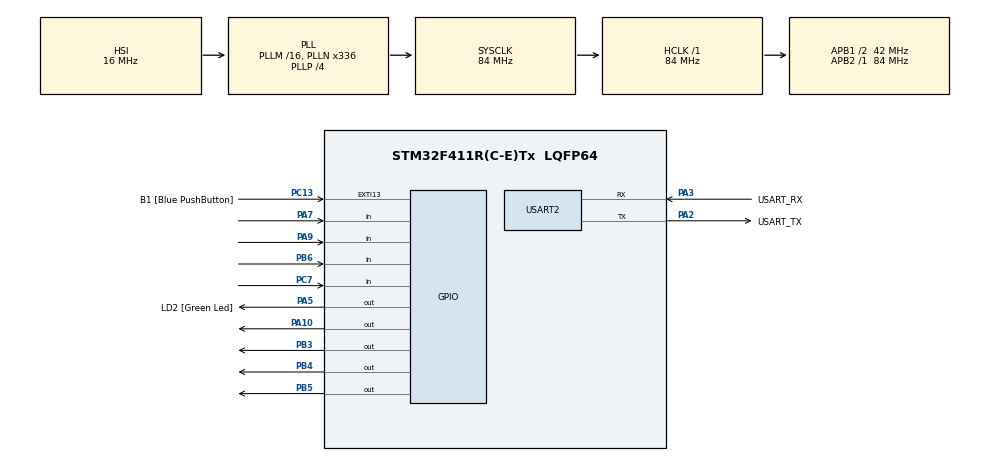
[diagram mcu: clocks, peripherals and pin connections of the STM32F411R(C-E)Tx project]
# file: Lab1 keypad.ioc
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Mcu.Family=STM32F4
Mcu.Name=STM32F411R(C-E)Tx
Mcu.Package=LQFP64
NVIC.PriorityGroup=NVIC_PRIORITYGROUP_0
PA10.GPIO_ModeDefaultOutputPP=GPIO_MODE_OUTPUT_OD
PA10.GPIO_PuPd=GPIO_NOPULL
PA10.Signal=GPIO_Output
PA13.GPIO_Label=TMS
PA13.Mode=Serial_Wire
PA13.Signal=SYS_JTMS-SWDIO
PA14.GPIO_Label=TCK
PA14.Mode=Serial_Wire
PA14.Signal=SYS_JTCK-SWCLK
PA2.GPIO_Label=USART_TX
PA2.Mode=Asynchronous
PA2.Signal=USART2_TX
PA3.GPIO_Label=USART_RX
PA3.Mode=Asynchronous
PA3.Signal=USART2_RX
PA5.GPIO_Label=LD2 [Green Led]
PA5.Signal=GPIO_Output
PA7.GPIO_PuPd=GPIO_PULLUP
PA7.Signal=GPIO_Input
PA9.GPIO_PuPd=GPIO_PULLUP
PA9.Signal=GPIO_Input
PB3.GPIO_ModeDefaultOutputPP=GPIO_MODE_OUTPUT_OD
PB3.GPIO_PuPd=GPIO_NOPULL
PB3.Signal=GPIO_Output
PB4.GPIO_ModeDefaultOutputPP=GPIO_MODE_OUTPUT_OD
PB4.GPIO_PuPd=GPIO_NOPULL
PB4.Signal=GPIO_Output
PB5.GPIO_ModeDefaultOutputPP=GPIO_MODE_OUTPUT_OD
PB5.GPIO_PuPd=GPIO_NOPULL
PB5.Signal=GPIO_Output
PB6.GPIO_PuPd=GPIO_PULLUP
PB6.Signal=GPIO_Input
PC13-ANTI_TAMP.GPIO_Label=B1 [Blue PushButton]
PC13-ANTI_TAMP.GPIO_ModeDefaultEXTI=GPIO_MODE_IT_FALLING
PC13-ANTI_TAMP.Signal=GPXTI13
PC14-OSC32_IN.Mode=LSE-External-Oscillator
PC14-OSC32_IN.Signal=RCC_OSC32_IN
PC15-OSC32_OUT.Mode=LSE-External-Oscillator
PC15-OSC32_OUT.Signal=RCC_OSC32_OUT
PC7.GPIO_PuPd=GPIO_PULLUP
PC7.Signal=GPIO_Input
PH0\ -\ OSC_IN.Mode=HSE-External-Clock-Source
PH0\ -\ OSC_IN.Signal=RCC_OSC_IN
PH1\ -\ OSC_OUT.Mode=HSE-External-Clock-Source
PH1\ -\ OSC_OUT.Signal=RCC_OSC_OUT
ProjectManager.HeapSize=0x200
ProjectManager.StackSize=0x400
ProjectManager.TargetToolchain=STM32CubeIDE
RCC.48MHZClocksFreq_Value=84000000
RCC.AHBFreq_Value=84000000
RCC.APB1CLKDivider=RCC_HCLK_DIV2
RCC.APB1Freq_Value=42000000
RCC.APB1TimFreq_Value=84000000
RCC.APB2Freq_Value=84000000
RCC.APB2TimFreq_Value=84000000
RCC.CortexFreq_Value=84000000
RCC.FLatency-AdvancedSettings=FLASH_LATENCY_2
RCC.HCLKFreq_Value=84000000
RCC.HSE_VALUE=8000000
RCC.HSI_VALUE=16000000
RCC.PLLN=336
RCC.PLLP=RCC_PLLP_DIV4
RCC.SYSCLKFreq_VALUE=84000000
RCC.SYSCLKSource=RCC_SYSCLKSOURCE_PLLCLK
RCC.VCOOutputFreq_Value=336000000
USART2.VirtualMode=VM_ASYNC
board=NUCLEO-F411RE

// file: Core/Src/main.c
/* USER CODE BEGIN Header */
/**
  ******************************************************************************
  * @file           : main.c
  * @brief          : Main program body
  ******************************************************************************
  * @attention
  *
  * Copyright (c) 2023 STMicroelectronics.
  * All rights reserved.
  *
  * This software is licensed under terms that can be found in the LICENSE file
  * in the root directory of this software component.
  * If no LICENSE file comes with this software, it is provided AS-IS.
  *
  ******************************************************************************
  */
/* USER CODE END Header */
#include "main.h"

UART_HandleTypeDef huart2;

/* USER CODE BEGIN PV */
struct PortPin {
	GPIO_TypeDef *PORT;
	uint16_t PIN;
};

struct PortPin R[4] = { { GPIOA, GPIO_PIN_10 }, { GPIOB, GPIO_PIN_3 }, { GPIOB,
GPIO_PIN_5 }, { GPIOB, GPIO_PIN_4 } };

struct PortPin L[4] = { { GPIOA, GPIO_PIN_9 }, { GPIOC, GPIO_PIN_7 }, { GPIOB,
GPIO_PIN_6 }, { GPIOA, GPIO_PIN_7 } };

uint16_t ButtonMatrix = 0;
int state = 0;
uint16_t MatrixButtonCurrent = 0;
uint16_t MatrixButtonLast = 0;

/* USER CODE END PV */

void SystemClock_Config(void);
static void MX_GPIO_Init(void);
static void MX_USART2_UART_Init(void);
/* USER CODE BEGIN PFP */
void ReadMatrixButton_1Row();
/* USER CODE END PFP */

int main(void)
{

  /* MCU Configuration--------------------------------------------------------*/

  /* Reset of all peripherals, Initializes the Flash interface and the Systick. */
  HAL_Init();

  /* Configure the system clock */
  SystemClock_Config();

  /* Initialize all configured peripherals */
  MX_GPIO_Init();
  MX_USART2_UART_Init();

  /* Infinite loop */
  /* USER CODE BEGIN WHILE */
  while (1)
  {
	  static uint32_t timestamp = 0;
	  if(HAL_GetTick() >= timestamp){
		  timestamp = HAL_GetTick() + 10;
		  ReadMatrixButton_1Row();
	  }
	  MatrixButtonCurrent = ButtonMatrix;
	  switch(state)
	  {
	  case 0:
		  if(MatrixButtonLast==0){
			  if(MatrixButtonCurrent==512){
				  HAL_GPIO_WritePin(GPIOA,GPIO_PIN_5,0);
				  state = 1;
			  }
			  else if (MatrixButtonCurrent==0)state = 0;
			  else if (MatrixButtonCurrent==4096){
				  HAL_GPIO_WritePin(GPIOA,GPIO_PIN_5,0);
				  state = 0;
			  }
			  else if (MatrixButtonCurrent==128 || MatrixButtonCurrent==2048 || MatrixButtonCurrent==8192 || MatrixButtonCurrent==16384){
				  HAL_GPIO_WritePin(GPIOA,GPIO_PIN_5,0);
				  state = 0;
			  }
			  else {
				  HAL_GPIO_WritePin(GPIOA,GPIO_PIN_5,0);
				  state = 12;
			  }
		  }
		  break;
	  case 1:
		  if(MatrixButtonLast==0){
			  if(MatrixButtonCurrent==2)state = 2;
			  else if (MatrixButtonCurrent==4096)state = 0;
			  else if (MatrixButtonCurrent==128 || MatrixButtonCurrent==2048 || MatrixButtonCurrent==8192 || MatrixButtonCurrent==16384||MatrixButtonCurrent==0) state = 1;
			  else state = 12;
		  }
		  break;
	  case 2:
		  if(MatrixButtonLast==0){
			  if(MatrixButtonCurrent==1024)state = 3;
			  else if (MatrixButtonCurrent==4096)state = 0;
			  else if (MatrixButtonCurrent==128 || MatrixButtonCurrent==2048 || MatrixButtonCurrent==8192 || MatrixButtonCurrent==16384||MatrixButtonCurrent==0) state = 2;
			  else state = 12;
		  }
		  break;
	  case 3:
		  if(MatrixButtonLast==0){
			  if(MatrixButtonCurrent==2)state = 4;
			  else if (MatrixButtonCurrent==4096)state = 0;
			  else if (MatrixButtonCurrent==128 || MatrixButtonCurrent==2048 || MatrixButtonCurrent==8192 || MatrixButtonCurrent==16384||MatrixButtonCurrent==0) state = 3;
			  else state = 12;
		  }
		  break;
	  case 4:
		  if(MatrixButtonLast==0){
			  if(MatrixButtonCurrent==8)state = 5;
			  else if (MatrixButtonCurrent==4096)state = 0;
			  else if (MatrixButtonCurrent==128 || MatrixButtonCurrent==2048 || MatrixButtonCurrent==8192 || MatrixButtonCurrent==16384||MatrixButtonCurrent==0) state = 4;
			  else state = 12;
		  }
		  break;
	  case 5:
		  if(MatrixButtonLast==0){
			  if(MatrixButtonCurrent==32)state = 6;
			  else if (MatrixButtonCurrent==4096)state = 0;
			  else if (MatrixButtonCurrent==128 || MatrixButtonCurrent==2048 || MatrixButtonCurrent==8192 || MatrixButtonCurrent==16384||MatrixButtonCurrent==0) state = 5;
			  else state = 12;
		  }
		  break;
	  case 6:
		  if(MatrixButtonLast==0){
			  if(MatrixButtonCurrent==8)state = 7;
			  else if (MatrixButtonCurrent==4096)state = 0;
			  else if (MatrixButtonCurrent==128 || MatrixButtonCurrent==2048 || MatrixButtonCurrent==8192 || MatrixButtonCurrent==16384||MatrixButtonCurrent==0) state = 6;
			  else state = 12;
		  }
		  break;
	  case 7:
		  if(MatrixButtonLast==0){
			  if(MatrixButtonCurrent==8)state = 8;
			  else if (MatrixButtonCurrent==4096)state = 0;
			  else if (MatrixButtonCurrent==128 || MatrixButtonCurrent==2048 || MatrixButtonCurrent==8192 || MatrixButtonCurrent==16384||MatrixButtonCurrent==0) state = 7;
			  else state = 12;
		  }
		  break;
	  case 8:
		  if(MatrixButtonLast==0){
			  if(MatrixButtonCurrent==8)state = 9;
			  else if (MatrixButtonCurrent==4096)state = 0;
			  else if (MatrixButtonCurrent==128 || MatrixButtonCurrent==2048 || MatrixButtonCurrent==8192 || MatrixButtonCurrent==16384||MatrixButtonCurrent==0) state = 8;
			  else state = 12;
		  }
		  break;
	  case 9:
		  if(MatrixButtonLast==0){
			  if(MatrixButtonCurrent==512)state = 10;
			  else if (MatrixButtonCurrent==4096)state = 0;
			  else if (MatrixButtonCurrent==128 || MatrixButtonCurrent==2048 || MatrixButtonCurrent==8192 || MatrixButtonCurrent==16384||MatrixButtonCurrent==0) state = 9;
			  else state = 12;
		  }
		  break;
	  case 10:
		  if(MatrixButtonLast==0){
			  if(MatrixButtonCurrent==256)state = 11;
			  else if (MatrixButtonCurrent==4096)state = 0;
			  else if (MatrixButtonCurrent==128 || MatrixButtonCurrent==2048 || MatrixButtonCurrent==8192 || MatrixButtonCurrent==16384||MatrixButtonCurrent==0) state = 10;
			  else state = 12;
		  }
		  break;
	  case 11:
		  if(MatrixButtonLast==0){
			  if(MatrixButtonCurrent==32768){
				  HAL_GPIO_WritePin(GPIOA,GPIO_PIN_5,1);
				  state = 0;
			  }
			  else if (MatrixButtonCurrent==4096)state = 0;
			  else if (MatrixButtonCurrent==128 || MatrixButtonCurrent==2048 || MatrixButtonCurrent==8192 || MatrixButtonCurrent==16384||MatrixButtonCurrent==0) state = 11;
			  else state = 12;
		  }
		  break;
	  case 12:
		  if(MatrixButtonLast==0){
			  if (MatrixButtonCurrent==4096){
				  state = 0;
			  }
			  else state = 12;
		  }
		  break;
	  }
	MatrixButtonLast = MatrixButtonCurrent;
    /* USER CODE END WHILE */

  }
}

void SystemClock_Config(void)
{
  RCC_OscInitTypeDef RCC_OscInitStruct = {0};
  RCC_ClkInitTypeDef RCC_ClkInitStruct = {0};

  /** Configure the main internal regulator output voltage
  */
  __HAL_RCC_PWR_CLK_ENABLE();
  __HAL_PWR_VOLTAGESCALING_CONFIG(PWR_REGULATOR_VOLTAGE_SCALE1);

  /** Initializes the RCC Oscillators according to the specified parameters
  * in the RCC_OscInitTypeDef structure.
  */
  RCC_OscInitStruct.OscillatorType = RCC_OSCILLATORTYPE_HSI;
  RCC_OscInitStruct.HSIState = RCC_HSI_ON;
  RCC_OscInitStruct.HSICalibrationValue = RCC_HSICALIBRATION_DEFAULT;
  RCC_OscInitStruct.PLL.PLLState = RCC_PLL_ON;
  RCC_OscInitStruct.PLL.PLLSource = RCC_PLLSOURCE_HSI;
  RCC_OscInitStruct.PLL.PLLM = 16;
  RCC_OscInitStruct.PLL.PLLN = 336;
  RCC_OscInitStruct.PLL.PLLP = RCC_PLLP_DIV4;
  RCC_OscInitStruct.PLL.PLLQ = 4;
  if (HAL_RCC_OscConfig(&RCC_OscInitStruct) != HAL_OK)
  {
    Error_Handler();
  }

  /** Initializes the CPU, AHB and APB buses clocks
  */
  RCC_ClkInitStruct.ClockType = RCC_CLOCKTYPE_HCLK|RCC_CLOCKTYPE_SYSCLK
                              |RCC_CLOCKTYPE_PCLK1|RCC_CLOCKTYPE_PCLK2;
  RCC_ClkInitStruct.SYSCLKSource = RCC_SYSCLKSOURCE_PLLCLK;
  RCC_ClkInitStruct.AHBCLKDivider = RCC_SYSCLK_DIV1;
  RCC_ClkInitStruct.APB1CLKDivider = RCC_HCLK_DIV2;
  RCC_ClkInitStruct.APB2CLKDivider = RCC_HCLK_DIV1;

  if (HAL_RCC_ClockConfig(&RCC_ClkInitStruct, FLASH_LATENCY_2) != HAL_OK)
  {
    Error_Handler();
  }
}

static void MX_USART2_UART_Init(void)
{

  huart2.Instance = USART2;
  huart2.Init.BaudRate = 115200;
  huart2.Init.WordLength = UART_WORDLENGTH_8B;
  huart2.Init.StopBits = UART_STOPBITS_1;
  huart2.Init.Parity = UART_PARITY_NONE;
  huart2.Init.Mode = UART_MODE_TX_RX;
  huart2.Init.HwFlowCtl = UART_HWCONTROL_NONE;
  huart2.Init.OverSampling = UART_OVERSAMPLING_16;
  if (HAL_UART_Init(&huart2) != HAL_OK)
  {
    Error_Handler();
  }

}

static void MX_GPIO_Init(void)
{
  GPIO_InitTypeDef GPIO_InitStruct = {0};

  /* GPIO Ports Clock Enable */
  __HAL_RCC_GPIOC_CLK_ENABLE();
  __HAL_RCC_GPIOH_CLK_ENABLE();
  __HAL_RCC_GPIOA_CLK_ENABLE();
  __HAL_RCC_GPIOB_CLK_ENABLE();

  /*Configure GPIO pin Output Level */
  HAL_GPIO_WritePin(GPIOA, LD2_Pin|GPIO_PIN_10, GPIO_PIN_RESET);

  /*Configure GPIO pin Output Level */
  HAL_GPIO_WritePin(GPIOB, GPIO_PIN_3|GPIO_PIN_4|GPIO_PIN_5, GPIO_PIN_RESET);

  /*Configure GPIO pin : B1_Pin */
  GPIO_InitStruct.Pin = B1_Pin;
  GPIO_InitStruct.Mode = GPIO_MODE_IT_FALLING;
  GPIO_InitStruct.Pull = GPIO_NOPULL;
  HAL_GPIO_Init(B1_GPIO_Port, &GPIO_InitStruct);

  /*Configure GPIO pin : LD2_Pin */
  GPIO_InitStruct.Pin = LD2_Pin;
  GPIO_InitStruct.Mode = GPIO_MODE_OUTPUT_PP;
  GPIO_InitStruct.Pull = GPIO_NOPULL;
  GPIO_InitStruct.Speed = GPIO_SPEED_FREQ_LOW;
  HAL_GPIO_Init(LD2_GPIO_Port, &GPIO_InitStruct);

  /*Configure GPIO pins : PA7 PA9 */
  GPIO_InitStruct.Pin = GPIO_PIN_7|GPIO_PIN_9;
  GPIO_InitStruct.Mode = GPIO_MODE_INPUT;
  GPIO_InitStruct.Pull = GPIO_PULLUP;
  HAL_GPIO_Init(GPIOA, &GPIO_InitStruct);

  /*Configure GPIO pin : PC7 */
  GPIO_InitStruct.Pin = GPIO_PIN_7;
  GPIO_InitStruct.Mode = GPIO_MODE_INPUT;
  GPIO_InitStruct.Pull = GPIO_PULLUP;
  HAL_GPIO_Init(GPIOC, &GPIO_InitStruct);

  /*Configure GPIO pin : PA10 */
  GPIO_InitStruct.Pin = GPIO_PIN_10;
  GPIO_InitStruct.Mode = GPIO_MODE_OUTPUT_OD;
  GPIO_InitStruct.Pull = GPIO_NOPULL;
  GPIO_InitStruct.Speed = GPIO_SPEED_FREQ_LOW;
  HAL_GPIO_Init(GPIOA, &GPIO_InitStruct);

  /*Configure GPIO pins : PB3 PB4 PB5 */
  GPIO_InitStruct.Pin = GPIO_PIN_3|GPIO_PIN_4|GPIO_PIN_5;
  GPIO_InitStruct.Mode = GPIO_MODE_OUTPUT_OD;
  GPIO_InitStruct.Pull = GPIO_NOPULL;
  GPIO_InitStruct.Speed = GPIO_SPEED_FREQ_LOW;
  HAL_GPIO_Init(GPIOB, &GPIO_InitStruct);

  /*Configure GPIO pin : PB6 */
  GPIO_InitStruct.Pin = GPIO_PIN_6;
  GPIO_InitStruct.Mode = GPIO_MODE_INPUT;
  GPIO_InitStruct.Pull = GPIO_PULLUP;
  HAL_GPIO_Init(GPIOB, &GPIO_InitStruct);

}

/* USER CODE BEGIN 4 */
void ReadMatrixButton_1Row() {
	static uint8_t X = 0;
	register int i;
	for (i = 0; i < 4; i++) {
		if (HAL_GPIO_ReadPin(L[i].PORT, L[i].PIN)) {
			ButtonMatrix &= ~(1 << (X * 4 + i));
		} else {
			ButtonMatrix |= 1 << (X * 4 + i);
		}
	}
	HAL_GPIO_WritePin(R[X].PORT, R[X].PIN, 1);
	HAL_GPIO_WritePin(R[(X + 1) % 4].PORT, R[(X + 1) % 4].PIN, 0);
	X++;
	X %= 4;
}

/* USER CODE END 4 */

void Error_Handler(void)
{
  __disable_irq();
  while (1)
  {
  }
}
